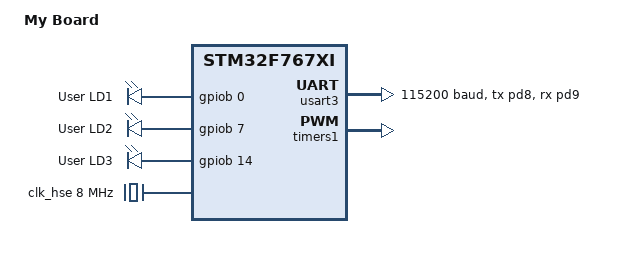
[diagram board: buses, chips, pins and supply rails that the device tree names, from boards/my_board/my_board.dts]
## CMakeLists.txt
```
cmake_minimum_required(VERSION 3.20.0)

list(APPEND BOARD_ROOT ${CMAKE_CURRENT_SOURCE_DIR})
list(APPEND ZEPHYR_EXTRA_MODULES
     ${CMAKE_CURRENT_SOURCE_DIR}/custom_drivers)
find_package(Zephyr REQUIRED)
project(my_zephyr_app)

target_sources(app PRIVATE src/main.cpp)
```

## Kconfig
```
config APP_HEARTBEAT_PERIOD_MS
    int "HEARTBEAT PERIOD (ms)"
    default 500 
    range 100 2000
    help 
        Time between LED toggles in milliseconds.  

source "Kconfig.zephyr"
```

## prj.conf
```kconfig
CONFIG_GPIO=y
CONFIG_LOG=y
CONFIG_SENSOR=y

CONFIG_SHELL=y
CONFIG_SHELL_BACKEND_SERIAL=y
```

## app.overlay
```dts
/ {
	aliases {
		app-led = "/leds/led_1";
	};

	led_sensor: led-sensor {
        compatible = "custom,led-sensor";
        gpios = <&gpiob 7 GPIO_ACTIVE_HIGH>;
        status = "okay";
    	};
};
```

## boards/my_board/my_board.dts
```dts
/dts-v1/;
#include <st/f7/stm32f767Xi.dtsi>
#include <st/f7/stm32f767zitx-pinctrl.dtsi>

/ {
	model = "My Board";
	compatible = "iomico,my_board";

	aliases {
		led0 = &green_led;
		led1 = &blue_led;
		led2 = &red_led;
	};

	chosen {
		zephyr,console = &usart3;
		zephyr,shell-uart = &usart3;
		zephyr,sram = &sram0;
		zephyr,flash = &flash0;
		zephyr,code-partition = &slot0_partition;
		zephyr,dtcm = &dtcm;
	};

	leds: leds {
		compatible = "gpio-leds";

		green_led: led_0 {
			gpios = <&gpiob 0 GPIO_ACTIVE_HIGH>;
			label = "User LD1";
		};

		blue_led: led_1 {
			gpios = <&gpiob 7 GPIO_ACTIVE_HIGH>;
			label = "User LD2";
		};

		red_led: led_2 {
			gpios = <&gpiob 14 GPIO_ACTIVE_HIGH>;
			label = "User LD3";
		};
	};
};

&clk_lsi {
	status = "okay";
};

&clk_hse {
	hse-bypass;
	clock-frequency = <DT_FREQ_M(8)>; /* STLink 8MHz clock */
	status = "okay";
};

&pll {
	div-m = <4>;
	mul-n = <216>;
	div-p = <2>;
	div-q = <9>;
	clocks = <&clk_hse>;
	status = "okay";
};

&rcc {
	clocks = <&pll>;
	clock-frequency = <DT_FREQ_M(216)>;
	ahb-prescaler = <1>;
	apb1-prescaler = <4>;
	apb2-prescaler = <2>;
};

&usart3 {
	pinctrl-0 = <&usart3_tx_pd8 &usart3_rx_pd9>;
	pinctrl-names = "default";
	current-speed = <115200>;
	status = "okay";
};

&timers1 {
	st,prescaler = <10000>;
	status = "okay";

	pwm1: pwm {
		status = "okay";
		pinctrl-0 = <&tim1_ch3_pe13>;
		pinctrl-names = "default";
	};
};

&flash0 {
	partitions {
		#address-cells = <1>;
		#size-cells = <1>;
		ranges;

		/*
		 * The two sectors 0-1 (32+32 kbytes) are reserved for
		 * the bootloader.
		 */
		boot_partition: partition@0 {
			compatible = "zephyr,mapped-partition";
			label = "mcuboot";
			reg = <0x0 DT_SIZE_K(64)>;
			read-only;
		};

		/*
		 * The flash starting at offset 0x10000 and ending at
		 * offset 0x1ffff is reserved for use by the application.
		 * This represents sectors 2-3 (32+32 kbytes)
		 */
		storage_partition: partition@10000 {
			compatible = "zephyr,mapped-partition";
			label = "storage";
			reg = <0x00010000 DT_SIZE_K(64)>;
		};

		/*
		 * Sector 4 (128 kbytes) unallocated.
		 */

		/*
		 * Allocated 3 (256k x 3) sectors for image-0. Sectors 5-7.
		 */
		slot0_partition: partition@40000 {
			compatible = "zephyr,mapped-partition";
			label = "image-0";
			reg = <0x00040000 DT_SIZE_K(768)>;
		};

		/*
		 * Allocated 3 (256k x 3) sectors for image-1. Sectors 8-10.
		 */
		slot1_partition: partition@100000 {
			compatible = "zephyr,mapped-partition";
			label = "image-1";
			reg = <0x00100000 DT_SIZE_K(768)>;
		};

		/*
		 * Allocated 1 (256k) sector for image-scratch. Sector 11.
		 */
		scratch_partition: partition@1c0000 {
			compatible = "zephyr,mapped-partition";
			label = "image-scratch";
			reg = <0x001c0000 DT_SIZE_K(256)>;
		};
	};
};
```

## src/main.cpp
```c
#include <zephyr/drivers/gpio.h>
#include <zephyr/kernel.h>
#include <zephyr/logging/log.h>
#include <zephyr/drivers/sensor.h>
#include <led_sensor/led_sensor.h>
#include <zephyr/shell/shell.h>
#include <zephyr/sys/util.h>
#include <errno.h>
#include <string.h>
#include <zephyr/shell/shell_string_conv.h>



//#define SLEEP_TIME_MS 1000

/* The devicetree node identifier for the "led0" alias. */
//#define LED_NODE DT_ALIAS(app_led)
//static const struct gpio_dt_spec led = GPIO_DT_SPEC_GET(LED_NODE, gpios);

LOG_MODULE_REGISTER(main, LOG_LEVEL_INF);

static const struct device *const led_sensor =
    DEVICE_DT_GET(DT_NODELABEL(led_sensor));

static int cmd_sensor_info(
    const struct shell *sh,
    size_t argc,
    char **argv)
{
    ARG_UNUSED(argc);
    ARG_UNUSED(argv);

    shell_print(sh, "Device: %s", led_sensor->name);
    shell_print(sh, "Ready: %s",
                device_is_ready(led_sensor) ? "yes" : "no");

    return 0;
}

static int cmd_sensor_fetch(
    const struct shell *sh,
    size_t argc,
    char **argv)
{
    ARG_UNUSED(argc);
    ARG_UNUSED(argv);

    if (!device_is_ready(led_sensor)) {
        shell_error(sh, "LED sensor is not ready");
        return -ENODEV;
    }

    int ret = sensor_sample_fetch(led_sensor);

    if (ret < 0) {
        shell_error(sh, "Fetch failed: %d", ret);
        return ret;
    }

    shell_print(sh, "Fetch completed: LED ON");

    return 0;
}

static int cmd_sensor_read(
    const struct shell *sh,
    size_t argc,
    char **argv)
{
    ARG_UNUSED(argc);
    ARG_UNUSED(argv);

    if (!device_is_ready(led_sensor)) {
        shell_error(sh, "LED sensor is not ready");
        return -ENODEV;
    }

    struct sensor_value state;

    int ret = sensor_channel_get(
        led_sensor, SENSOR_CHAN_PRIV_START, &state);

    if (ret < 0) {
        shell_error(sh, "Read failed: %d", ret);
        return ret;
    }

    shell_print(sh, "Read completed: LED OFF, state: %d",
                state.val1);

    return 0;
}

static int cmd_sensor_set(
    const struct shell *sh,
    size_t argc,
    char **argv)
{
    const long min_value = 0;
    const long max_value = 1;

    if (argc != 2) {
        shell_error(sh, "Usage: sensor set <0|1>");
        return -EINVAL;
    }

    int err = 0;
    long value = shell_strtol(argv[1], 10, &err);

    if (err != 0) {
        shell_error(sh, "Invalid integer: %s", argv[1]);
        return err;
    }

    if (value < min_value || value > max_value) {
        shell_error(sh, "Value must be between %ld and %ld",
                    min_value, max_value);
        return -ERANGE;
    }

    bool on = (value == 1);   

    if (!device_is_ready(led_sensor)) {
        shell_error(sh, "LED sensor is not ready");
        return -ENODEV;
    }

    int ret = led_sensor_set_state(led_sensor, on);

    if (ret < 0) {
        shell_error(sh, "Set failed: %d", ret);
        return ret;
    }

    shell_print(sh, "LED %s", on ? "ON" : "OFF");

    return 0;
}

SHELL_STATIC_SUBCMD_SET_CREATE(
    sub_sensor,
    SHELL_CMD(info, NULL,
              "Show device name and ready state",
              cmd_sensor_info),
    SHELL_CMD(fetch, NULL,
              "Fetch a sample and turn LED on",
              cmd_sensor_fetch),
    SHELL_CMD(read, NULL,
              "Read the result and turn LED off",
              cmd_sensor_read),
    SHELL_CMD_ARG(set, NULL,
              "Set LED state: 0=OFF, 1=ON",
              cmd_sensor_set, 1, 1),
    SHELL_SUBCMD_SET_END
);

SHELL_CMD_REGISTER(
    sensor,
    &sub_sensor,
    "LED sensor commands",
    NULL
);



int main(void)
{

    if (!device_is_ready(led_sensor)) {
        LOG_ERR("LED sensor initialization failed");
        return 0;
    }

    LOG_INF("LED sensor ready");
  
    int ret = led_sensor_set_state(led_sensor, true);

    if (ret < 0) {
    LOG_ERR("Custom API failed: %d", ret);
    return 0;
}

    LOG_INF("Custom API: LED ON");
    k_msleep(2000);

    ret = led_sensor_set_state(led_sensor, false);

    if (ret < 0) {
        LOG_ERR("Custom API failed: %d", ret);
        return 0;
    }

    LOG_INF("Custom API: LED OFF");
    k_msleep(2000);

    // struct sensor_value state;
    // while (true) {
    //     ret = sensor_sample_fetch(led_sensor);

    //     if (ret < 0) {
    //         LOG_ERR("Failed to turn LED on: %d", ret);
    //         return 0;
    //     }

    //     LOG_INF("LED ON");
    //     k_msleep(CONFIG_APP_HEARTBEAT_PERIOD_MS);

    //     ret = sensor_channel_get(
    //         led_sensor, SENSOR_CHAN_PRIV_START, &state);

    //     if (ret < 0) {
    //         LOG_ERR("Failed to turn LED off: %d", ret);
    //         return 0;
    //     }

    //     LOG_INF("LED OFF, state: %d", state.val1);
    //     k_msleep(CONFIG_APP_HEARTBEAT_PERIOD_MS);
    // }

    return 0;


    // bool led_state = true;

    // if (!gpio_is_ready_dt(&led)) return 0;

    // if (gpio_pin_configure_dt(&led, GPIO_OUTPUT_ACTIVE) < 0) return 0;

    // LOG_INF("Hello World!");

    // while (1) {
    //     if (gpio_pin_toggle_dt(&led) < 0) return 0;

    //     led_state = !led_state;
    //     //LOG_INF("LED state: %s", led_state ? "ON" : "OFF");
    //     k_msleep(CONFIG_APP_HEARTBEAT_PERIOD_MS);
    // }
    // return 0;
}
```
